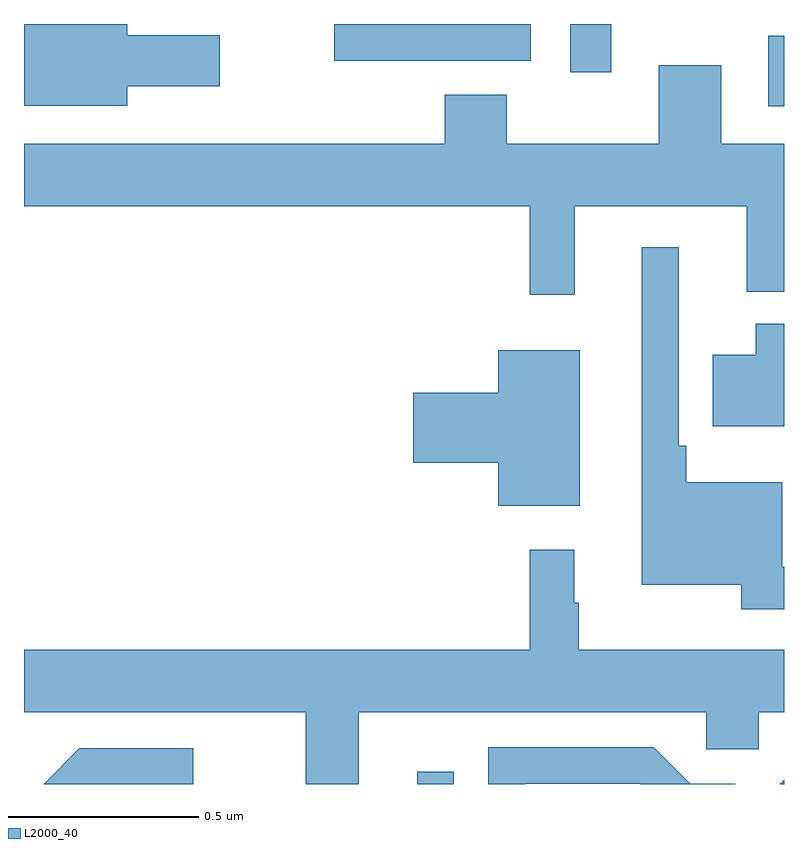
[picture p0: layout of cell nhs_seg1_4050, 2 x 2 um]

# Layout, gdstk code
import gdstk
lib = gdstk.Library(unit=1e-6, precision=1e-09)
def R(c, l, rs):  # rectangles x0, y0, x1, y1
    for r in rs: c.add(gdstk.rectangle(r[:2], r[2:], *l))
def P(c, l, *ps):  # polygons
    for p in ps: c.add(gdstk.Polygon(p, *l))
L2000_40 = (2000, 40)

nhs_seg1_4050 = lib.new_cell('nhs_seg1_4050')
R(nhs_seg1_4050, L2000_40, [(162.035,562.199,162.131,562.231), (162.959,563.982,163,564.168), (162.437,564.072,162.546,564.199), (161.817,564.102,162.333,564.199)])
P(nhs_seg1_4050, L2000_40, [(161.272,564.035),(161.515,564.035),(161.515,564.17),(161.272,564.17),(161.272,564.199),(161,564.199),(161,563.984),(161.272,563.984)],
  [(162.449,563.72),(162.902,563.72),(162.902,563.495),(163,563.495),(163,563.884),(162.835,563.884),(162.835,564.091),(162.671,564.091),(162.671,563.884),(162.271,563.884),(162.271,564.013),(162.107,564.013),(162.107,563.884),(161,563.884),(161,563.72),(162.331,563.72),(162.331,563.487),(162.449,563.487)],
  [(163,562.771),(162.996,562.771),(162.996,562.993),(162.743,562.993),(162.743,563.089),(162.723,563.089),(162.723,563.611),(162.626,563.611),(162.626,562.724),(162.888,562.724),(162.888,562.659),(163,562.659)],
  [(163,563.41),(162.926,563.41),(162.926,563.329),(162.812,563.329),(162.812,563.141),(163,563.141)],
  [(162.463,563.341),(162.248,563.341),(162.248,563.228),(162.024,563.228),(162.024,563.045),(162.248,563.045),(162.248,562.931),(162.463,562.931)],
  [(161.881,562.388),(162.795,562.388),(162.795,562.29),(162.933,562.29),(162.933,562.388),(163,562.388),(163,562.552),(162.46,562.552),(162.46,562.676),(162.448,562.676),(162.448,562.816),(162.331,562.816),(162.331,562.552),(161,562.552),(161,562.388),(161.741,562.388),(161.741,562.199),(161.881,562.199)],
  [(162.318,562.2),(162.621,562.2),(162.622,562.199),(162.872,562.199),(162.872,562.2),(162.753,562.2),(162.657,562.296),(162.222,562.296),(162.222,562.199),(162.318,562.199)],
  [(161.446,562.293),(161.145,562.293),(161.052,562.199),(161.446,562.199)],
  [(163,562.21),(162.989,562.199),(163,562.199)])

lib.write_gds('nhs_seg1_4050.gds')
